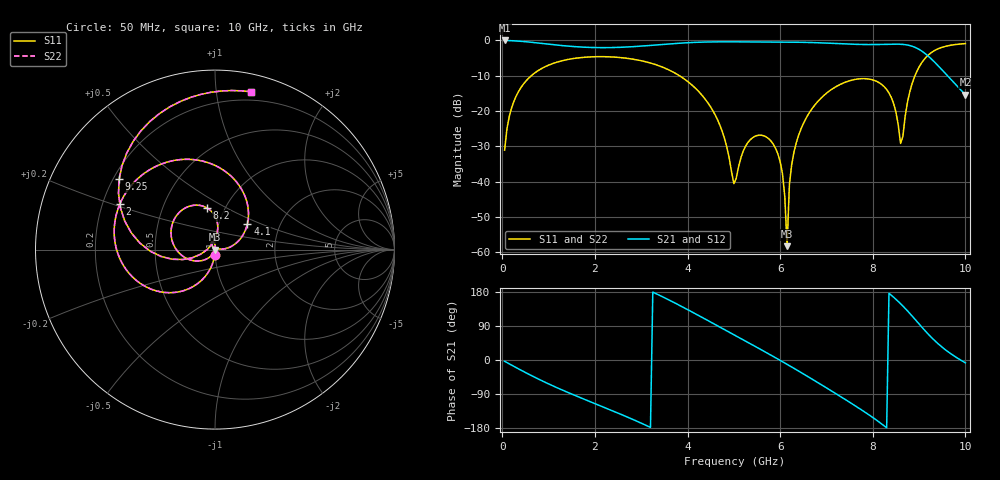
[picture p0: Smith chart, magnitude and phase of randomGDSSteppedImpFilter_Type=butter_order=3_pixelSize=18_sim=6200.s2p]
! freq	dB(S11)	phase(S11)	dB(S12)	phase(S12)
!  dB(S21)	phase(S21)	dB(S22)	phase(S22)
!S-par simulation data
#  GHz  S  DB  R 50
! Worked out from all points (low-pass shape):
!   200 points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, 50 MHz to 10 GHz, reference 50 ohm
!   highest |S21| = -0.01 dB at 50 MHz (marker M1); lowest = -15.4 dB at 10 GHz (marker M2)
!   |S21| within 3 dB of the highest: start of sweep to 9.057 GHz
!   lowest |S11| = -58.3 dB at 6.15 GHz (marker M3), VSWR 1.00, Z = 50 - j0.119 ohm
!   |S11| at or under -10 dB: start of sweep to 627.6 MHz; 3.825 GHz to 8.912 GHz (5.087 GHz wide, 79.9 % of centre)
!   |S22| runs from -57.9 to -0.9 dB; largest |S21 - S12| = 0
!   S11 on the Smith chart (normalised r, x): 50 MHz: 1.00, -0.06; 2 GHz: 0.27, +0.21; 4.1 GHz: 1.37, +0.42; 8.2 GHz: 0.83, +0.41; 9.25 GHz: 0.22, +0.31; 10 GHz: 0.13, +1.25
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0.05  -31.09 -93.4  -0.01 -3.4  -0.01 -3.4  -31.09 -93.4
0.5  -11.68 -123.5  -0.36 -33.1  -0.36 -33.1  -11.68 -123.5
1.75  -4.80 167.0  -1.90 -102.6  -1.90 -102.6  -4.80 167.0
2  -4.62 154.6  -2.02 -115.1  -2.02 -115.1  -4.62 154.6
3.4  -7.27 81.0  -1.20 170.5  -1.20 170.5  -7.27 81.0
4.1  -12.69 38.7  -0.58 126.6  -0.58 126.6  -12.69 38.7
4.65  -22.54 7.8  -0.40 90.1  -0.40 90.1  -22.55 7.6
5.05  -39.18 97.8  -0.40 63.4  -0.40 63.4  -39.37 98.7
5.35  -28.20 122.4  -0.42 43.4  -0.42 43.4  -28.21 122.9
5.8  -28.49 97.2  -0.45 12.9  -0.45 12.9  -28.50 97.7
6.05  -37.76 80.7  -0.46 -4.4  -0.46 -4.4  -37.78 82.1
6.15  -58.32 -101.1  -0.47 -11.5  -0.47 -11.5  -57.88 -125.8
6.2  -40.81 -109.0  -0.48 -15.0  -0.48 -15.0  -40.79 -110.9
6.3  -31.56 -116.1  -0.49 -22.1  -0.49 -22.1  -31.55 -116.8
6.7  -19.14 -144.8  -0.60 -51.2  -0.60 -51.2  -19.14 -145.0
7.4  -11.88 163.2  -0.98 -103.8  -0.98 -103.8  -11.88 163.1
8.2  -12.55 100.7  -1.12 -169.4  -1.12 -169.4  -12.55 100.6
8.35  -14.89 88.9  -1.07 176.1  -1.07 176.1  -14.90 88.8
8.6  -29.19 117.0  -1.08 148.6  -1.08 148.6  -29.31 116.6
8.85  -12.21 -167.4  -1.65 116.1  -1.65 116.1  -12.22 -167.3
9.25  -3.58 143.8  -5.07 61.6  -5.07 61.6  -3.58 143.9
10  -0.90 77.1  -15.37 -7.5  -15.37 -7.5  -0.90 77.2
